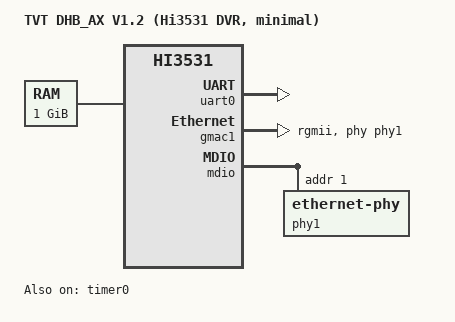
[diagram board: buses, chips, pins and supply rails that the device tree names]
// SPDX-License-Identifier: GPL-2.0-only
/*
 * Minimal RAM-only diagnostics: CPU, GIC, SP804 timer, PL011 UART0 and the
 * wired Ethernet path.
 *
 * Every other on-chip block stays disabled as hi3531.dtsi leaves it, so this
 * DTB reaches a shell without touching GPIO, USB, SATA, SPI or I2C.
 *
 * Developed against an LTS LTD2704XE-P; the same board also ships under
 * other retail brands.
 */
/dts-v1/;

#include "hi3531.dtsi"

/ {
	model = "TVT DHB_AX V1.2 (Hi3531 DVR, minimal)";
	compatible = "tvt,dhb-ax", "hisilicon,hi3531";

	aliases {
		ethernet0 = &gmac1;
	};

	chosen {
		/* U-Boot supplies mem=; Linux uses it to replace ATAG_MEM. */
		stdout-path = "serial0:115200n8";
	};

	/* Both 512 MiB banks; see hi3531-dhb-ax.dts for how this was measured. */
	memory@80000000 {
		device_type = "memory";
		reg = <0x80000000 0x20000000>,
		      <0xc0000000 0x20000000>;
	};
};

&timer0 {
	status = "okay";
};

&uart0 {
	status = "okay";
};

&gmac1 {
	phy-mode = "rgmii";
	phy-handle = <&phy1>;
	max-speed = <1000>;
	status = "okay";
};

&mdio {
	phy1: ethernet-phy@1 {
		reg = <1>;
	};
};
